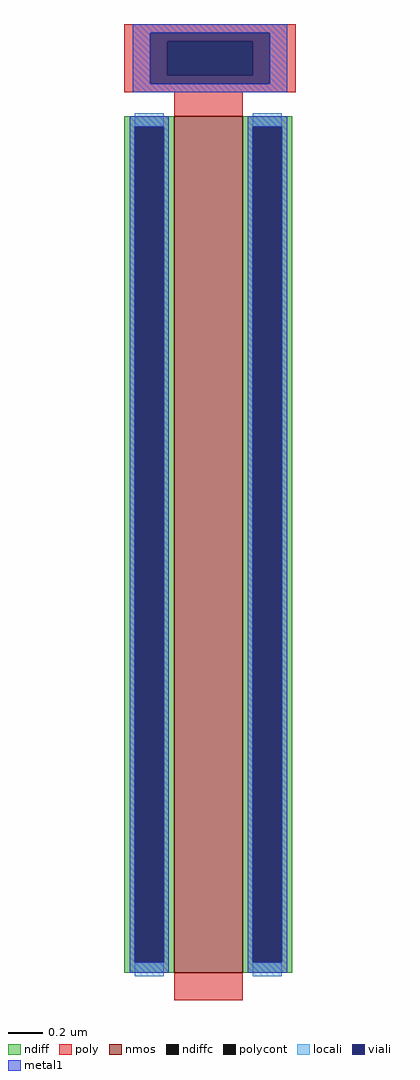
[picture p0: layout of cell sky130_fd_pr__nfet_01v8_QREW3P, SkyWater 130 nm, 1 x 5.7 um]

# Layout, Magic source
magic
tech sky130A
<< nmos >>
rect -20 -250 20 250
<< ndiff >>
rect -49 244 -20 250
rect -49 -244 -43 244
rect -26 -244 -20 244
rect -49 -250 -20 -244
rect 20 244 49 250
rect 20 -244 26 244
rect 43 -244 49 244
rect 20 -250 49 -244
<< ndiffc >>
rect -43 -244 -26 244
rect 26 -244 43 244
<< poly >>
rect -49 294 51 304
rect -49 274 -24 294
rect 26 274 51 294
rect -49 264 51 274
rect -20 250 20 264
rect -20 -266 20 -250
<< polycont >>
rect -24 274 26 294
<< locali >>
rect -43 244 -26 252
rect -43 -252 -26 -244
rect 26 244 43 252
rect 26 -252 43 -244
<< viali >>
rect -34 294 36 299
rect -34 274 -24 294
rect -24 274 26 294
rect 26 274 36 294
rect -34 269 36 274
rect -43 -244 -26 244
rect 26 -244 43 244
<< metal1 >>
rect -44 299 46 304
rect -44 269 -34 299
rect 36 269 46 299
rect -44 264 46 269
rect -46 244 -23 250
rect -46 -244 -43 244
rect -26 -244 -23 244
rect -46 -250 -23 -244
rect 23 244 46 250
rect 23 -244 26 244
rect 43 -244 46 244
rect 23 -250 46 -244
<< properties >>
string gencell sky130_fd_pr__nfet_01v8
string library sky130
string parameters w 5.0 l 0.4 m 1 nf 1 diffcov 100 polycov 100 guard 0 glc 1 grc 1 gtc 1 gbc 1 tbcov 100 rlcov 100 topc 1 botc 1 poverlap 0 doverlap 1 lmin 0.15 wmin 0.42 compatible {sky130_fd_pr__nfet_01v8 sky130_fd_pr__nfet_01v8_lvt  sky130_fd_bs_flash__special_sonosfet_star  sky130_fd_pr__nfet_g5v0d10v5 sky130_fd_pr__nfet_05v0_nvt  sky130_fd_pr__nfet_03v3_nvt} full_metal 1 viasrc 100 viadrn 100 viagate 100 viagb 0 viagr 0 viagl 0 viagt 0
<< end >>
